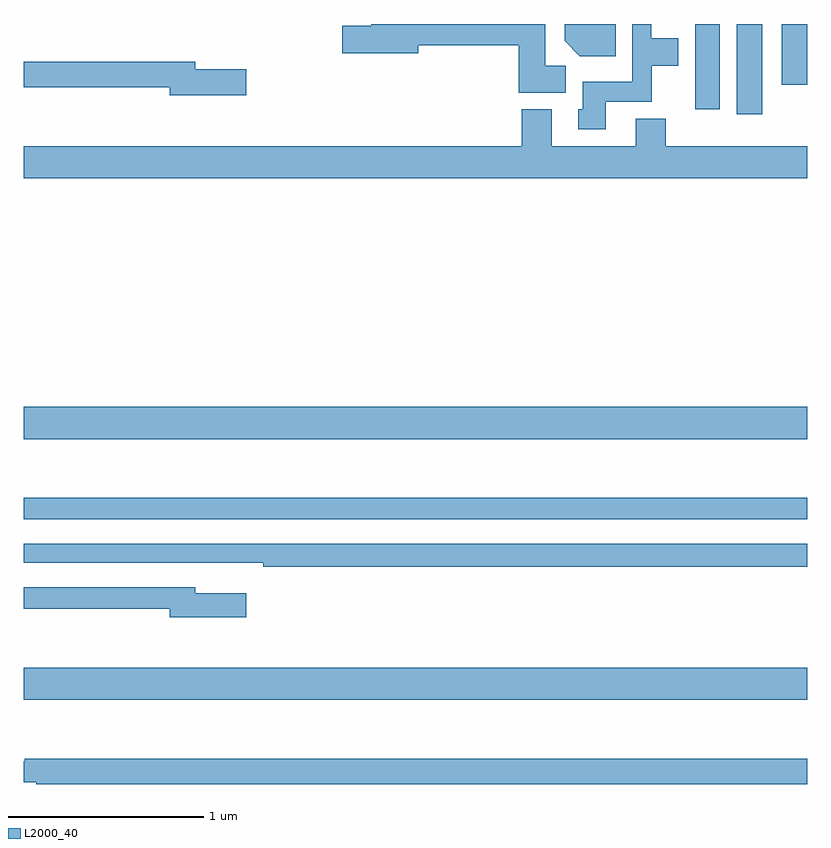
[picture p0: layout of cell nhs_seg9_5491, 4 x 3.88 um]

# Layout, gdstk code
import gdstk
lib = gdstk.Library(unit=1e-6, precision=1e-09)
def R(c, l, rs):  # rectangles x0, y0, x1, y1
    for r in rs: c.add(gdstk.rectangle(r[:2], r[2:], *l))
def P(c, l, *ps):  # polygons
    for p in ps: c.add(gdstk.Polygon(p, *l))
L2000_40 = (2000, 40)

nhs_seg9_5491 = lib.new_cell('nhs_seg9_5491')
R(nhs_seg9_5491, L2000_40, [(429,1235.048,433,1235.212), (429,1235.97,433,1236.079), (429,1236.38,433,1236.544), (432.641,1238.04,432.772,1238.5), (432.428,1238.064,432.553,1238.5), (432.872,1238.189,433,1238.5)])
P(nhs_seg9_5491, L2000_40, [(431.971,1238.102),(432.207,1238.102),(432.207,1238.288),(432.343,1238.288),(432.343,1238.428),(432.204,1238.428),(432.204,1238.5),(432.108,1238.5),(432.108,1238.206),(431.855,1238.206),(431.855,1238.064),(431.831,1238.064),(431.831,1237.962),(431.971,1237.962)],
  [(432.023,1238.5),(431.762,1238.5),(431.762,1238.414),(431.84,1238.336),(432.023,1238.336)],
  [(431.767,1238.288),(431.662,1238.288),(431.662,1238.5),(430.775,1238.5),(430.775,1238.492),(430.626,1238.492),(430.626,1238.35),(431.014,1238.35),(431.014,1238.392),(431.528,1238.392),(431.528,1238.15),(431.767,1238.15)],
  [(430.135,1238.27),(429.874,1238.27),(429.874,1238.306),(429,1238.306),(429,1238.178),(429.746,1238.178),(429.746,1238.135),(430.135,1238.135)],
  [(433,1237.876),(432.278,1237.876),(432.278,1238.017),(432.125,1238.017),(432.125,1237.876),(431.695,1237.876),(431.695,1238.065),(431.543,1238.065),(431.543,1237.876),(429,1237.876),(429,1237.712),(433,1237.712)],
  [(433,1235.844),(429,1235.844),(429,1235.748),(429.97,1235.748),(429.97,1235.747),(430.222,1235.747),(430.222,1235.728),(433,1235.728)],
  [(430.135,1235.593),(429.874,1235.593),(429.874,1235.622),(429,1235.622),(429,1235.514),(429.746,1235.514),(429.746,1235.471),(430.135,1235.471)],
  [(433,1234.747),(429.004,1234.747),(429.004,1234.734),(429,1234.734),(429,1234.626),(429.062,1234.626),(429.062,1234.618),(433,1234.618)])

lib.write_gds('nhs_seg9_5491.gds')
